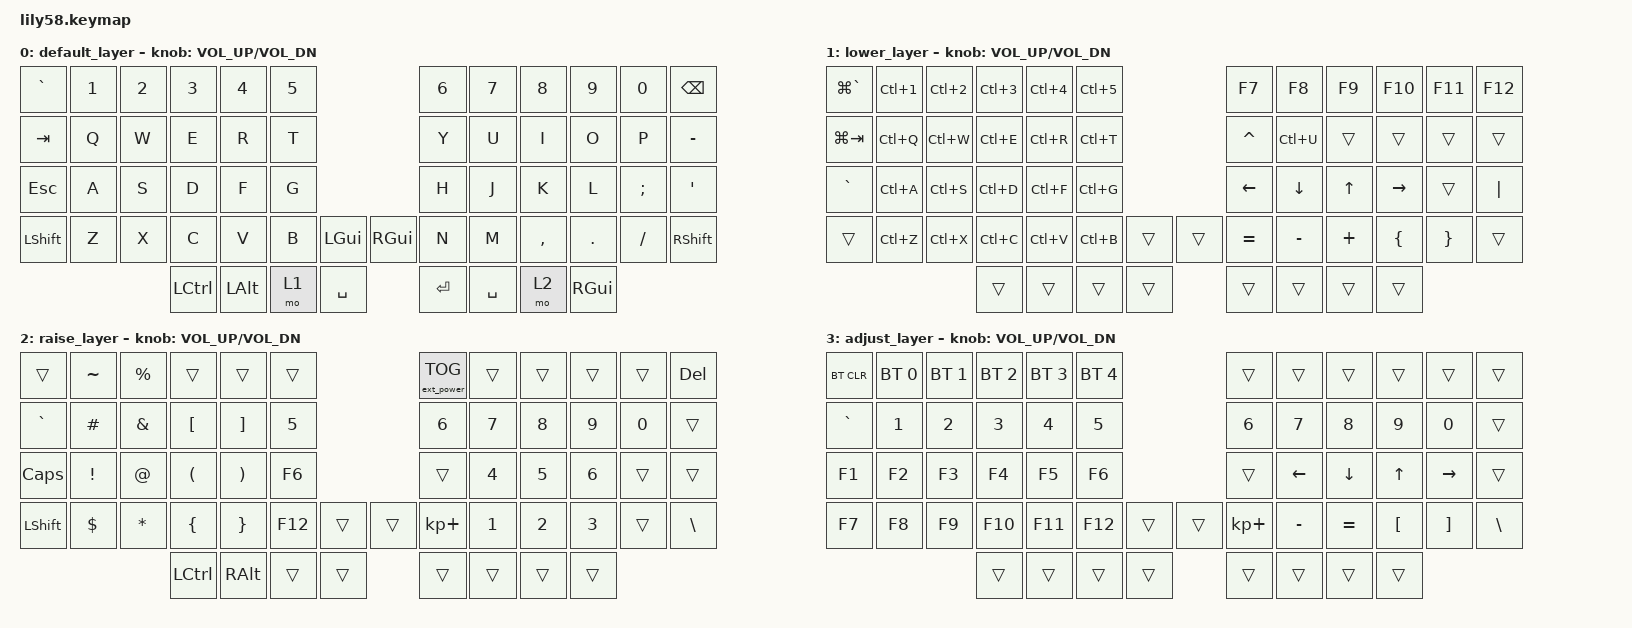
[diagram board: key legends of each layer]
/*
 * Copyright (c) 2020 The ZMK Contributors
 *
 * SPDX-License-Identifier: MIT
 */

#include <behaviors.dtsi>
#include <dt-bindings/zmk/keys.h>
#include <dt-bindings/zmk/bt.h>
#include <dt-bindings/zmk/ext_power.h>

/ {
    conditional_layers {
        compatible = "zmk,conditional-layers";
        tri_layer {
            if-layers = <1 2>;
            then-layer = <3>;
        };
    };

    keymap {
        compatible = "zmk,keymap";

        default_layer {
// ------------------------------------------------------------------------------------------------------------
// |   `   |  1  |  2  |  3   |  4   |  5   |                   |  6   |  7    |  8    |  9   |   0   | BSPC  |
// |  TAB  |  Q  |  W  |  E   |  R   |  T   |                   |  Y   |  U    |  I    |  O   |   P   |   -   |
// |  ESC  |  A  |  S  |  D   |  F   |  G   |                   |  H   |  J    |  K    |  L   |   ;   |   '   |
// | SHIFT |  Z  |  X  |  C   |  V   |  B   |  LGUI  |  | RGUI  |  N   |  M    |  ,    |  .   |   /   | SHIFT |
//                     | CTRL |  ALT | LOWER|  SPACE |  | ENTER | SPACE| RAISE | GUI   |
            bindings = <
&kp GRAVE &kp N1 &kp N2 &kp N3   &kp N4    &kp N5                     &kp N6    &kp N7   &kp N8    &kp N9  &kp N0   &kp BSPC
&kp TAB   &kp Q  &kp W  &kp E    &kp R     &kp T                      &kp Y     &kp U    &kp I     &kp O   &kp P    &kp MINUS
&kp ESC   &kp A  &kp S  &kp D    &kp F     &kp G                      &kp H     &kp J    &kp K     &kp L   &kp SEMI &kp SQT
&kp LSHFT &kp Z  &kp X  &kp C    &kp V     &kp B  &kp LGUI   &kp RGUI &kp N     &kp M    &kp COMMA &kp DOT &kp FSLH &kp RSHFT
                            &kp LCTRL &kp LALT &mo 1  &kp SPACE  &kp RET  &kp SPACE &mo 2  &kp RGUI
            >;

            sensor-bindings = <&inc_dec_kp C_VOL_UP C_VOL_DN>;
        };

        lower_layer {
// ------------------------------------------------------------------------------------------------------------
// | LGG |  C1 |  C2 |  C3  |  C4  |  OFF |                   |  F7  |  F8   |  F9   |  F10 |  F11  |  F12  |
// | LGT |  CQ |  CW |  CE  |  CR  |  ON  |                   |  ^   |  CU   |       |      |       |       |
// |  `  |  CA |  CS |  CD  |  CF  |  CG  |                   |  <-  |   v   |   ^   |  ->  |       |  "|"  |
// |     |  CZ |  CX |  CC  |  CV  |  CB  |        |  |       |  =   |  _    |   +   |  {   |   }   |       |
//                   |      |      |      |        |  |       |      |       |       |

            bindings = <
&kp LG(GRAVE) &kp LC(1) &kp LC(2) &kp LC(3) &kp LC(4)  &kp LC(5)        &kp F7    &kp F8    &kp F9    &kp F10   &kp F11   &kp F12
&kp LG(TAB)   &kp LC(Q) &kp LC(W) &kp LC(E) &kp LC(R)  &kp LC(T)        &kp CARET    &kp LC(U) &trans    &trans    &trans    &trans
&kp GRAVE     &kp LC(A) &kp LC(S) &kp LC(D) &kp LC(F)  &kp LC(G)               &kp LEFT  &kp DOWN  &kp UP    &kp RIGHT &trans    &kp PIPE
&trans     &kp LC(Z) &kp LC(X) &kp LC(C) &kp LC(V)  &kp LC(B) &trans &trans &kp EQUAL &kp MINUS &kp PLUS  &kp LBRC  &kp RBRC  &trans
                                         &trans &trans &trans &trans    &trans &trans &trans &trans
            >;

            sensor-bindings = <&inc_dec_kp C_VOL_UP C_VOL_DN>;
        };

        raise_layer {
// ------------------------------------------------------------------------------------------------------------
// |        |  ~  |  %  |      |      |      |                   | EP_T |       |       |      |       |  DEL  |
// |   `    |  #  |  &  | "["  | "]"  |  5   |                   |  6   |   7   |   8   |  9   |   0   |       |
// |  CAPS  |  !  |  @  |  (   |  )   |  F6  |                   |      |   4   |   5   |  6   |       |       |
// | LSHIFT |  $  |  *  |  {   |  }   |  F12 |        |  |       |  +   |   1   |   2   |  3   |       |   \   |
//                      | CTRL | RALT |      |        |  |       |      |       |       |
            bindings = <
&trans     &kp TILDE &kp PRCNT    &trans   &trans  &trans                       &ext_power EP_TOG &trans    &trans    &trans   &trans    &kp DEL
&kp GRAVE  &kp HASH  &kp AMPS  &kp LBKT &kp RBKT  &kp N5                       &kp N6      &kp N7    &kp N8    &kp N9   &kp N0    &trans
&kp CAPS   &kp EXCL  &kp AT    &kp LPAR  &kp RPAR  &kp F6                       &trans      &kp N4    &kp N5    &kp N6   &trans    &trans
&kp LSHIFT &kp DLLR  &kp ASTRK &kp LBRC  &kp RBRC &kp F12   &trans   &trans    &kp KP_PLUS &kp N1    &kp N2    &kp N3   &trans    &kp BSLH
                        &kp LCTRL  &kp RALT  &trans    &trans   &trans    &trans      &trans    &trans
            >;

            sensor-bindings = <&inc_dec_kp C_VOL_UP C_VOL_DN>;
        };

        adjust_layer {
// ------------------------------------------------------------------------------------------------------------
// | BTCLR | BT1 | BT2 |  BT3 |  BT4 |  BT5 |                   |      |       |       |      |       |       |
// |   `   |  1  |  2  |  3   |  4   |  5   |                   |  6   |   7   |   8   |  9   |   0   |       |
// |   F1  |  F2 |  F3 |  F4  |  F5  |  F6  |                   |      |   <-  |   v   |  ^   |  ->   |       |
// |   F7  |  F8 |  F9 |  F10 |  F11 |  F12 |        |  |       |  +   |   -   |   =   |  [   |   ]   |   \   |
//                     |      |      |      |        |  |       |      |       |       |
            bindings = <
&bt BT_CLR &bt BT_SEL 0 &bt BT_SEL 1 &bt BT_SEL 2 &bt BT_SEL 3 &bt BT_SEL 4                 &trans      &trans    &trans    &trans   &trans    &trans
&kp GRAVE  &kp N1       &kp N2       &kp N3       &kp N4       &kp N5                       &kp N6      &kp N7    &kp N8    &kp N9   &kp N0    &trans
&kp F1     &kp F2       &kp F3       &kp F4       &kp F5       &kp F6                       &trans      &kp LEFT  &kp DOWN  &kp UP   &kp RIGHT &trans
&kp F7     &kp F8       &kp F9       &kp F10      &kp F11      &kp F12      &trans &trans   &kp KP_PLUS &kp MINUS &kp EQUAL &kp LBKT &kp RBKT  &kp BSLH
                        &trans       &trans       &trans       &trans       &trans &trans   &trans      &trans
            >;

            sensor-bindings = <&inc_dec_kp C_VOL_UP C_VOL_DN>;

        };
    };
};
